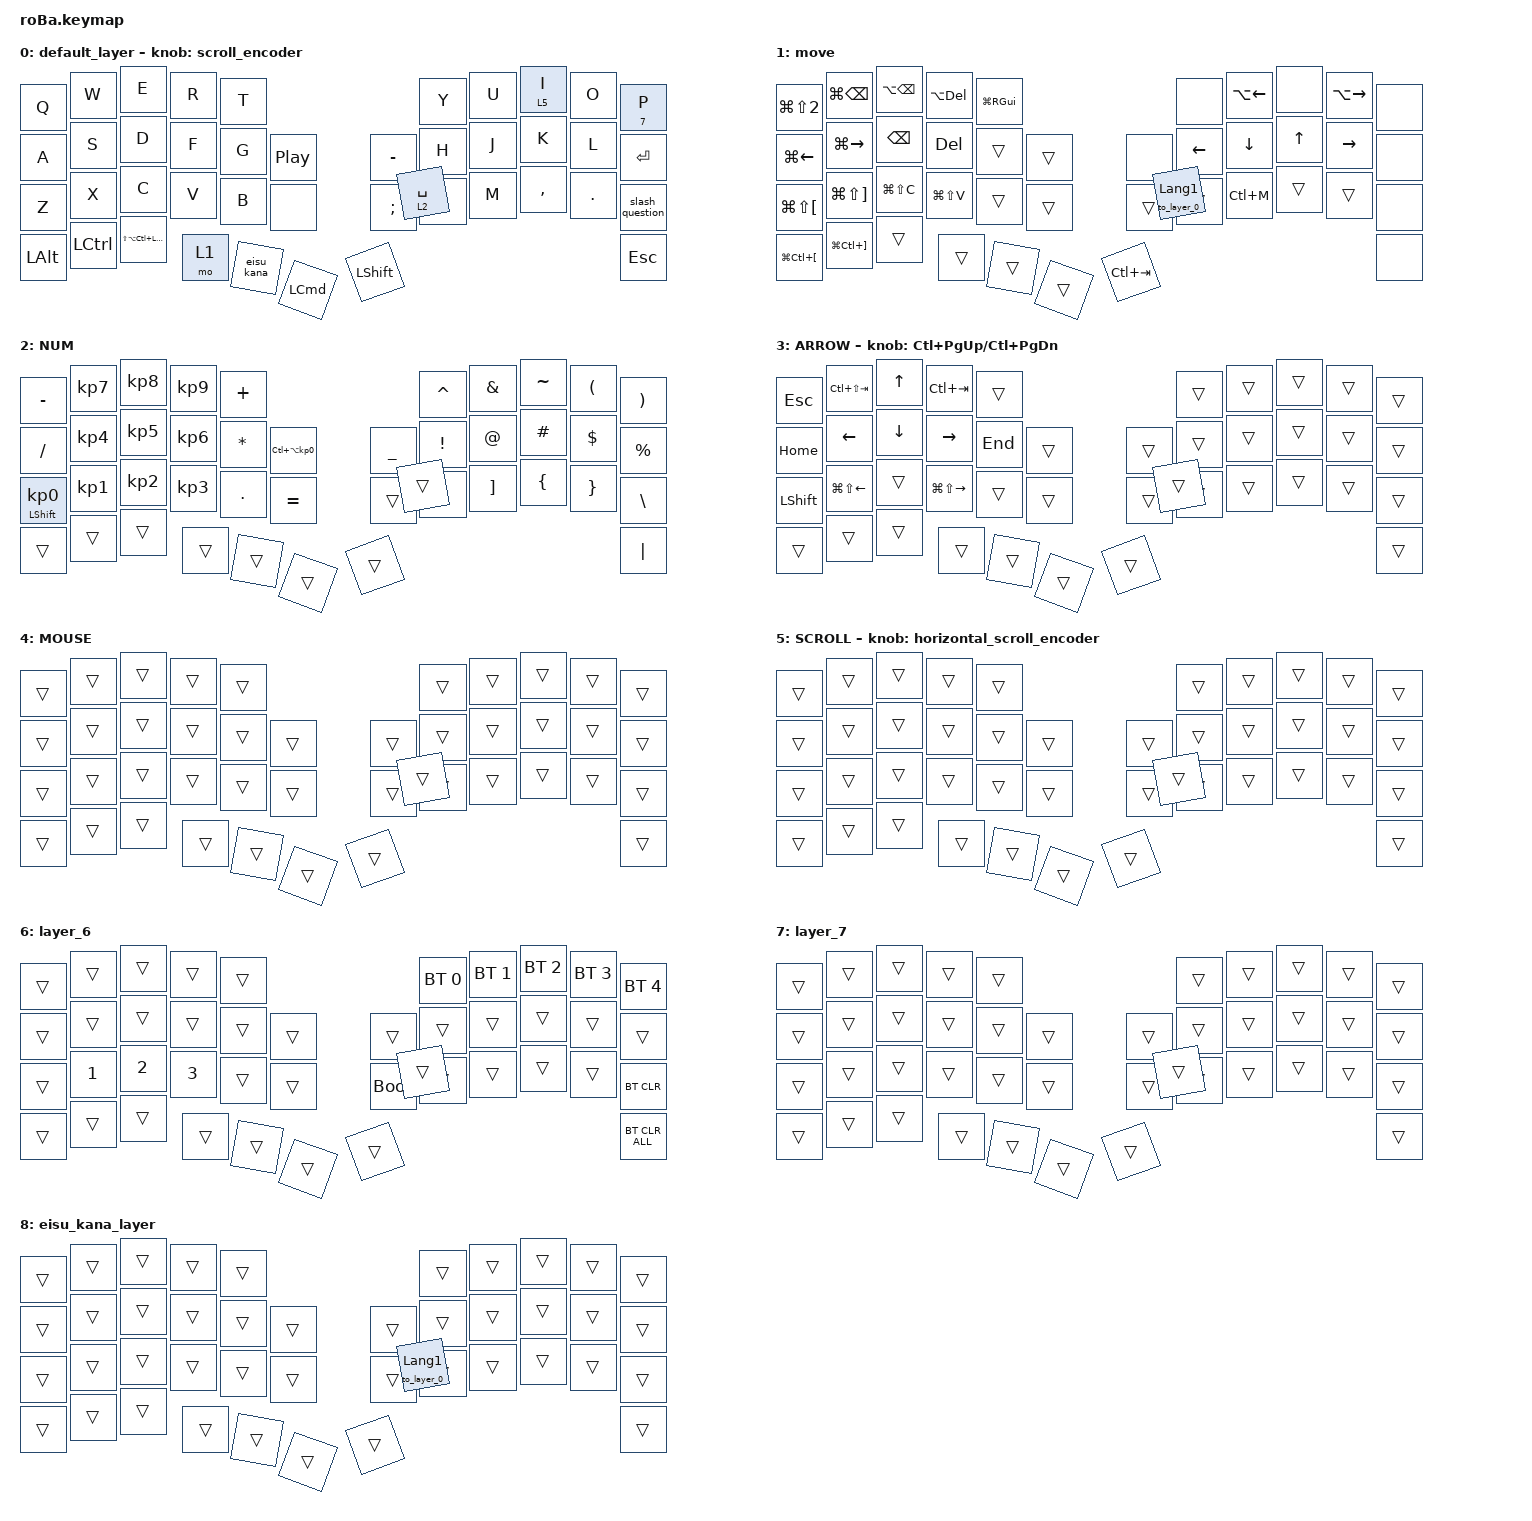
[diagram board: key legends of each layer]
#include <input/processors.dtsi>

#define ZMK_POINTING_DEFAULT_SCRL_VAL 80

#include <behaviors.dtsi>
#include <dt-bindings/zmk/bt.h>
#include <dt-bindings/zmk/keys.h>
#include <dt-bindings/zmk/modifiers.h>
#include <dt-bindings/zmk/pointing.h>

&mt {
    flavor = "balanced";
    quick-tap-ms = <0>;
};

/ {
    combos {
        compatible = "zmk,combos";

        tab {
            bindings = <&kp TAB>;
            key-positions = <11 12>;
        };

        shift_tab {
            bindings = <&kp LS(TAB)>;
            key-positions = <12 13>;
        };

        muhennkann {
            bindings = <&to_layer_0 INT_MUHENKAN>;
            key-positions = <11 10>;
        };

        double_quotation {
            bindings = <&kp DOUBLE_QUOTES>;
            key-positions = <20 21>;
        };

        kana_space {
            bindings = <&to_layer_0 LANGUAGE_1>;
            key-positions = <38 41>;
            timeout-ms = <60>;
            slow-release;
        };

        mouse_left_click {
            bindings = <&mkp MB1>;
            key-positions = <18 19>;
            layers = <0 4>;
            timeout-ms = <45>;
            require-prior-idle-ms = <80>;
            slow-release;
        };

        mouse_right_click {
            bindings = <&mkp MB2>;
            key-positions = <19 20>;
            layers = <0 4>;
            timeout-ms = <45>;
            require-prior-idle-ms = <80>;
            slow-release;
        };

        browser_back {
            bindings = <&kp LG(LEFT_BRACKET)>;
            key-positions = <7 18>;
            layers = <0 4>;
            timeout-ms = <45>;
            require-prior-idle-ms = <80>;
        };

        browser_forward {
            bindings = <&kp LG(RIGHT_BRACKET)>;
            key-positions = <7 20>;
            layers = <0 4>;
            timeout-ms = <45>;
            require-prior-idle-ms = <80>;
        };
    };

    macros {
        to_layer_0: to_layer_0 {
            compatible = "zmk,behavior-macro-one-param";
            #binding-cells = <1>;
            bindings = <&to 0 &macro_param_1to1 &kp MACRO_PLACEHOLDER>;
            label = "TO_LAYER_0";
        };

        eisu_kana: eisu_kana {
            compatible = "zmk,behavior-macro";
            #binding-cells = <0>;
            wait-ms = <0>;
            tap-ms = <10>;
            bindings =
                <&macro_press>,
                <&mo 8>,
                <&macro_tap>,
                <&kp LANG2>,
                <&macro_pause_for_release>,
                <&macro_release>,
                <&mo 8>,
                <&macro_tap>,
                <&to 0>;

            label = "EISU_KANA";
        };
    };

    behaviors {
        lt_to_layer_0: lt_to_layer_0 {
            compatible = "zmk,behavior-hold-tap";
            label = "LAYER_TAP_TO_0";
            bindings = <&mo>, <&to_layer_0>;

            #binding-cells = <2>;
            flavor = "hold-preferred";
            tapping-term-ms = <300>;
        };

        gesture_mode: gesture_mode {
            compatible = "roba,behavior-drag-mode";
            #binding-cells = <1>;
        };

        gesture_letter: gesture_letter {
            compatible = "roba,behavior-drag-letter";
            #binding-cells = <1>;
        };

        trackpad_layer_tap: trackpad_layer_tap {
            compatible = "zmk,behavior-hold-tap";
            label = "TRACKPAD_LAYER_TAP";
            bindings = <&gesture_mode>, <&gesture_letter>;
            #binding-cells = <2>;
            flavor = "tap-preferred";
            tapping-term-ms = <200>;
            hold-while-undecided;
        };

        slash_question: slash_question {
            compatible = "zmk,behavior-mod-morph";
            label = "SLASH_QUESTION";
            bindings = <&trackpad_layer_tap 7 SLASH>, <&kp LS(SLASH)>;

            #binding-cells = <0>;
            mods = <(MOD_LSFT|MOD_RSFT)>;
        };

        scroll_encoder: scroll_encoder {
            compatible = "zmk,behavior-sensor-rotate";
            #sensor-binding-cells = <0>;
            bindings = <&msc SCRL_DOWN>, <&msc SCRL_UP>;

            tap-ms = <20>;
        };

        horizontal_scroll_encoder: horizontal_scroll_encoder {
            compatible = "zmk,behavior-sensor-rotate";
            #sensor-binding-cells = <0>;
            bindings = <&msc SCRL_RIGHT>, <&msc SCRL_LEFT>;

            tap-ms = <20>;
        };
    };

    keymap {
        compatible = "zmk,keymap";

        default_layer {
            bindings = <
&kp Q         &kp W             &kp E                     &kp R  &kp T                                             &kp Y        &kp U  &lt 5 I    &kp O    &trackpad_layer_tap 7 P
&kp A         &kp S             &kp D                     &kp F  &kp G       &kp C_PLAY_PAUSE      &kp MINUS       &kp H        &kp J  &kp K      &kp L    &kp ENTER
&kp Z         &kp X             &kp C                     &kp V  &kp B       &none                 &kp SEMICOLON   &kp N        &kp M  &kp COMMA  &kp DOT  &slash_question
&kp LEFT_ALT  &kp LEFT_CONTROL  &kp LS(LA(LC(LEFT_GUI)))  &mo 1  &eisu_kana  &kp LEFT_COMMAND      &kp LEFT_SHIFT  &lt 2 SPACE                             &kp ESC
            >;

            sensor-bindings = <&scroll_encoder>;
        };

        move {
            bindings = <
&kp LG(LS(NUMBER_2))      &kp LG(BACKSPACE)          &kp LA(BACKSPACE)  &kp LA(DELETE)  &kp LG(RIGHT_GUI)                           &none                   &kp LA(LEFT_ARROW)  &none         &kp LA(RIGHT_ARROW)  &none
&kp LG(LEFT)              &kp LG(RIGHT)              &kp BACKSPACE      &kp DELETE      &trans             &trans      &none        &kp LEFT_ARROW          &kp DOWN_ARROW      &kp UP_ARROW  &kp RIGHT_ARROW      &none
&kp LG(LS(LEFT_BRACKET))  &kp LG(LS(RIGHT_BRACKET))  &kp LG(LS(C))      &kp LG(LS(V))   &trans             &trans      &trans       &trans                  &kp LC(M)           &trans        &trans               &none
&kp LG(LC(LEFT_BRACKET))  &kp LG(LC(RIGHT_BRACKET))  &trans             &trans          &trans             &trans      &kp LC(TAB)  &to_layer_0 LANGUAGE_1                                                         &none
            >;
        };

        NUM {
            bindings = <
&kp MINUS                   &kp KP_NUMBER_7  &kp KP_NUMBER_8  &kp KP_NUMBER_9  &kp PLUS                                                   &kp CARET         &kp AMPERSAND      &kp TILDE       &kp LEFT_PARENTHESIS  &kp RIGHT_PARENTHESIS
&kp SLASH                   &kp KP_NUMBER_4  &kp KP_NUMBER_5  &kp KP_NUMBER_6  &kp ASTERISK  &kp LC(LA(KP_NUMBER_0))      &kp UNDERSCORE  &kp EXCLAMATION   &kp AT_SIGN        &kp HASH        &kp DOLLAR            &kp PERCENT
&mt LEFT_SHIFT KP_NUMBER_0  &kp KP_NUMBER_1  &kp KP_NUMBER_2  &kp KP_NUMBER_3  &kp PERIOD    &kp EQUAL                    &trans          &kp LEFT_BRACKET  &kp RIGHT_BRACKET  &kp LEFT_BRACE  &kp RIGHT_BRACE       &kp BACKSLASH
&trans                      &trans           &trans           &trans           &trans        &trans                       &trans          &trans                                                                     &kp PIPE
            >;
        };

        ARROW {
            bindings = <
&kp ESCAPE      &kp LC(LS(TAB))         &kp UP_ARROW    &kp LC(TAB)              &trans                       &trans  &trans  &trans  &trans  &trans
&kp HOME        &kp LEFT_ARROW          &kp DOWN_ARROW  &kp RIGHT_ARROW          &kp END  &trans      &trans  &trans  &trans  &trans  &trans  &trans
&kp LEFT_SHIFT  &kp LG(LS(LEFT_ARROW))  &trans          &kp LG(LS(RIGHT_ARROW))  &trans   &trans      &trans  &trans  &trans  &trans  &trans  &trans
&trans          &trans                  &trans          &trans                   &trans   &trans      &trans  &trans                          &trans
            >;

            sensor-bindings = <&inc_dec_kp LC(PAGE_UP) LC(PAGE_DOWN)>;
        };

        MOUSE {
            bindings = <
&trans  &trans  &trans  &trans  &trans                      &trans  &trans  &trans                &trans                 &trans
&trans  &trans  &trans  &trans  &trans  &trans      &trans  &trans  &trans  &trans                &trans                 &trans
&trans  &trans  &trans  &trans  &trans  &trans      &trans  &trans  &trans  &trans                &trans                 &trans
&trans  &trans  &trans  &trans  &trans  &trans      &trans  &trans                                                       &trans
            >;
        };

        SCROLL {
            bindings = <
&trans  &trans  &trans  &trans  &trans                      &trans  &trans  &trans  &trans  &trans
&trans  &trans  &trans  &trans  &trans  &trans      &trans  &trans  &trans  &trans  &trans  &trans
&trans  &trans  &trans  &trans  &trans  &trans      &trans  &trans  &trans  &trans  &trans  &trans
&trans  &trans  &trans  &trans  &trans  &trans      &trans  &trans                          &trans
            >;

            sensor-bindings = <&horizontal_scroll_encoder>;
        };

        layer_6 {
            bindings = <
&trans  &trans        &trans        &trans        &trans                           &bt BT_SEL 0  &bt BT_SEL 1  &bt BT_SEL 2  &bt BT_SEL 3  &bt BT_SEL 4
&trans  &trans        &trans        &trans        &trans  &trans      &trans       &trans        &trans        &trans        &trans        &trans
&trans  &kp NUMBER_1  &kp NUMBER_2  &kp NUMBER_3  &trans  &trans      &bootloader  &trans        &trans        &trans        &trans        &bt BT_CLR
&trans  &trans        &trans        &trans        &trans  &trans      &trans       &trans                                                  &bt BT_CLR_ALL
            >;
        };

        layer_7 {
            bindings = <
&trans  &trans  &trans  &trans  &trans                      &trans  &trans  &trans  &trans  &trans
&trans  &trans  &trans  &trans  &trans  &trans      &trans  &trans  &trans  &trans  &trans  &trans
&trans  &trans  &trans  &trans  &trans  &trans      &trans  &trans  &trans  &trans  &trans  &trans
&trans  &trans  &trans  &trans  &trans  &trans      &trans  &trans                          &trans
            >;
        };

        eisu_kana_layer {
            bindings = <
&trans  &trans  &trans  &trans  &trans                      &trans                  &trans  &trans  &trans  &trans
&trans  &trans  &trans  &trans  &trans  &trans      &trans  &trans                  &trans  &trans  &trans  &trans
&trans  &trans  &trans  &trans  &trans  &trans      &trans  &trans                  &trans  &trans  &trans  &trans
&trans  &trans  &trans  &trans  &trans  &trans      &trans  &to_layer_0 LANGUAGE_1                          &trans
            >;
        };
    };
};
